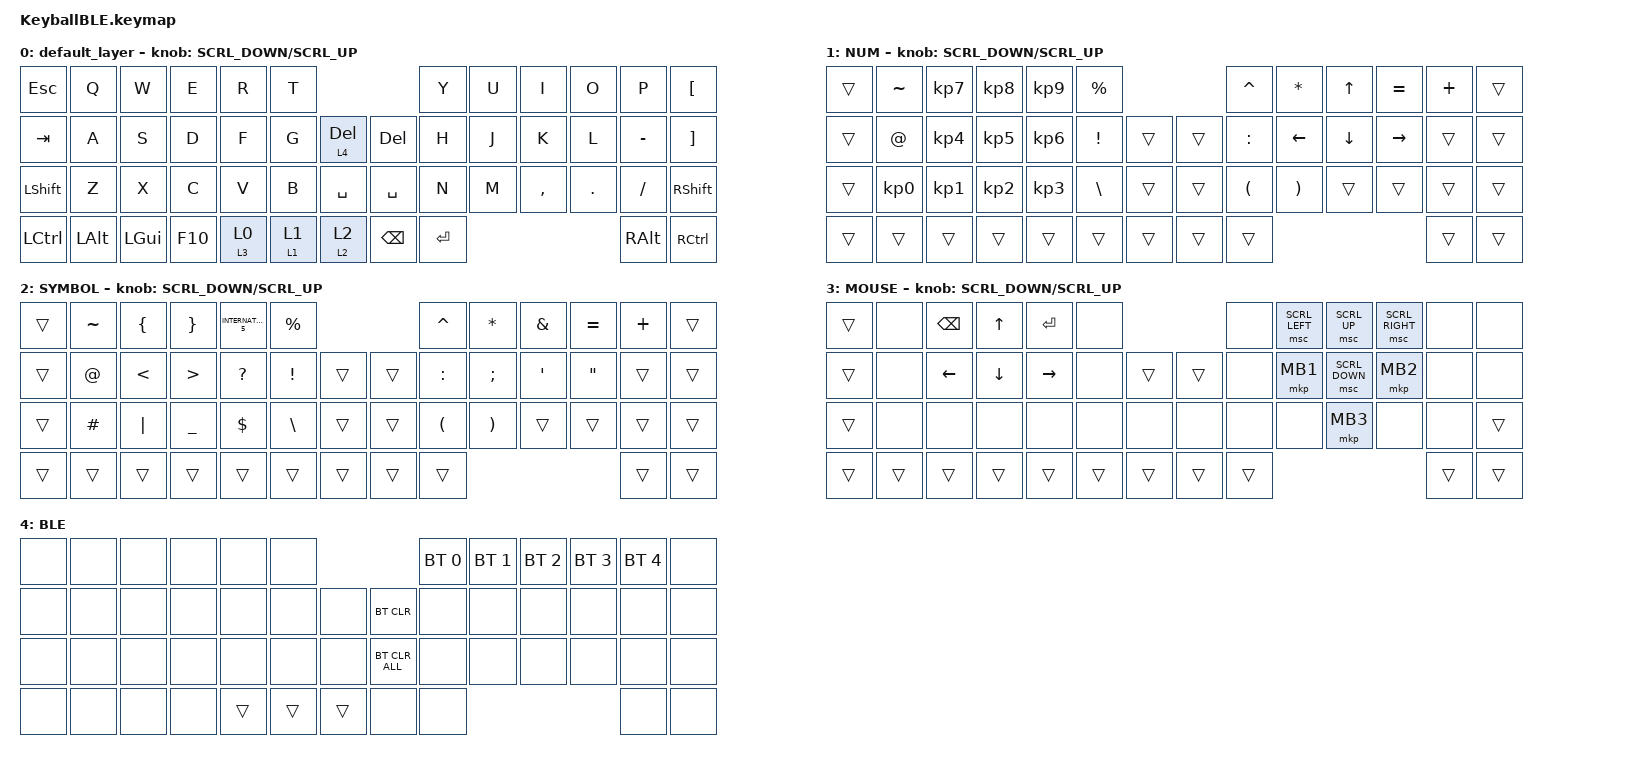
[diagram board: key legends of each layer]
#define ZMK_POINTING_DEFAULT_SCRL_VAL 120    // default: 10

#include <behaviors.dtsi>
#include <dt-bindings/zmk/bt.h>
#include <dt-bindings/zmk/keys.h>
#include <dt-bindings/zmk/pointing.h>

#define MOUSE 4
#define SCROLL 5
#define NUM 6

&mt {
    flavor = "balanced";
    quick-tap-ms = <0>;
};

/ {
    combos {
        compatible = "zmk,combos";

        double_quotation {
            bindings = <&kp DOUBLE_QUOTES>;
            key-positions = <20 21>;
        };
    };

    macros {
        to_layer_0: to_layer_0 {
            compatible = "zmk,behavior-macro-one-param";
            #binding-cells = <1>;
            bindings = <&to 0 &macro_param_1to1 &kp MACRO_PLACEHOLDER>;
            label = "TO_LAYER_0";
        };
    };

    behaviors {
        lt_to_layer_0: lt_to_layer_0 {
            compatible = "zmk,behavior-hold-tap";
            label = "LAYER_TAP_TO_0";
            bindings = <&mo>, <&to_layer_0>;

            #binding-cells = <2>;
            tapping-term-ms = <200>;
        };

        ROTATE: ROTATE {
            compatible = "zmk,behavior-sensor-rotate-var";
            label = "ROTATE";
            #sensor-binding-cells = <2>;
            bindings = <&msc>, <&msc>;

            tap-ms = <20>;
        };

        layer_hold_to: layer_hold_to {
            compatible = "zmk,behavior-hold-tap";
            label = "LAYER_HOLD_TO";
            bindings = <&mo>, <&to>;

            #binding-cells = <2>;
            tapping-term-ms = <200>;
        };
    };

    keymap {
        compatible = "zmk,keymap";

        default_layer {
            bindings = <
&kp ESC    &kp Q         &kp W         &kp E    &kp R               &kp T                                                    &kp Y      &kp U  &kp I      &kp O    &kp P          &kp LEFT_BRACKET
&kp TAB    &kp A         &kp S         &kp D    &kp F               &kp G               &lt 4 DEL             &kp DEL        &kp H      &kp J  &kp K      &kp L    &kp MINUS      &kp RIGHT_BRACKET
&kp LSHFT  &kp Z         &kp X         &kp C    &kp V               &kp B               &kp SPACE             &kp SPACE      &kp N      &kp M  &kp COMMA  &kp DOT  &kp FSLH       &kp RSHFT
&kp LCTRL  &kp LEFT_ALT  &kp LEFT_GUI  &kp F10  &layer_hold_to 3 0  &layer_hold_to 1 1  &layer_hold_to 2 2    &kp BACKSPACE  &kp ENTER                             &kp RIGHT_ALT  &kp RIGHT_CONTROL
            >;

            sensor-bindings = <&ROTATE SCRL_DOWN SCRL_UP>;
        };

        NUM {
            bindings = <
&trans  &kp TILDE        &kp KP_NUMBER_7  &kp KP_NUMBER_8  &kp KP_NUMBER_9  &kp PERCENT                        &kp CARET             &kp ASTERISK           &kp UP_ARROW    &kp EQUAL        &kp PLUS  &trans
&trans  &kp AT_SIGN      &kp KP_NUMBER_4  &kp KP_NUMBER_5  &kp KP_NUMBER_6  &kp EXCLAMATION  &trans    &trans  &kp COLON             &kp LEFT_ARROW         &kp DOWN_ARROW  &kp RIGHT_ARROW  &trans    &trans
&trans  &kp KP_NUMBER_0  &kp KP_NUMBER_1  &kp KP_NUMBER_2  &kp KP_NUMBER_3  &kp BACKSLASH    &trans    &trans  &kp LEFT_PARENTHESIS  &kp RIGHT_PARENTHESIS  &trans          &trans           &trans    &trans
&trans  &trans           &trans           &trans           &trans           &trans           &trans    &trans  &trans                                                                        &trans    &trans
            >;

            sensor-bindings = <&ROTATE SCRL_DOWN SCRL_UP>;
        };

        SYMBOL {
            bindings = <
&trans  &kp TILDE    &kp LEFT_BRACE  &kp RIGHT_BRACE   &kp INTERNATIONAL_5  &kp PERCENT                        &kp CARET             &kp ASTERISK           &kp AMPERSAND     &kp EQUAL          &kp PLUS  &trans
&trans  &kp AT_SIGN  &kp LESS_THAN   &kp GREATER_THAN  &kp QUESTION         &kp EXCLAMATION  &trans    &trans  &kp COLON             &kp SEMICOLON          &kp SINGLE_QUOTE  &kp DOUBLE_QUOTES  &trans    &trans
&trans  &kp HASH     &kp PIPE        &kp UNDERSCORE    &kp DOLLAR           &kp BACKSLASH    &trans    &trans  &kp LEFT_PARENTHESIS  &kp RIGHT_PARENTHESIS  &trans            &trans             &trans    &trans
&trans  &trans       &trans          &trans            &trans               &trans           &trans    &trans  &trans                                                                            &trans    &trans
            >;

            sensor-bindings = <&ROTATE SCRL_DOWN SCRL_UP>;
        };

        MOUSE {
            bindings = <
&trans  &none   &kp BACKSPACE   &kp UP_ARROW    &kp ENTER        &none                     &none   &msc SCRL_LEFT  &msc SCRL_UP    &msc SCRL_RIGHT  &none   &none
&trans  &none   &kp LEFT_ARROW  &kp DOWN_ARROW  &kp RIGHT_ARROW  &none   &trans    &trans  &none   &mkp MB1        &msc SCRL_DOWN  &mkp MB2         &none   &none
&trans  &none   &none           &none           &none            &none   &none     &none   &none   &none           &mkp MB3        &none            &none   &trans
&trans  &trans  &trans          &trans          &trans           &trans  &trans    &trans  &trans                                                   &trans  &trans
            >;

            sensor-bindings = <&ROTATE SCRL_DOWN SCRL_UP>;
        };

        BLE {
            bindings = <
&none  &none  &none  &none  &none   &none                             &bt BT_SEL 0  &bt BT_SEL 1  &bt BT_SEL 2  &bt BT_SEL 3  &bt BT_SEL 4  &none
&none  &none  &none  &none  &none   &none   &none     &bt BT_CLR      &none         &none         &none         &none         &none         &none
&none  &none  &none  &none  &none   &none   &none     &bt BT_CLR_ALL  &none         &none         &none         &none         &none         &none
&none  &none  &none  &none  &trans  &trans  &trans    &none           &none                                                   &none         &none
            >;
        };
    };
};
